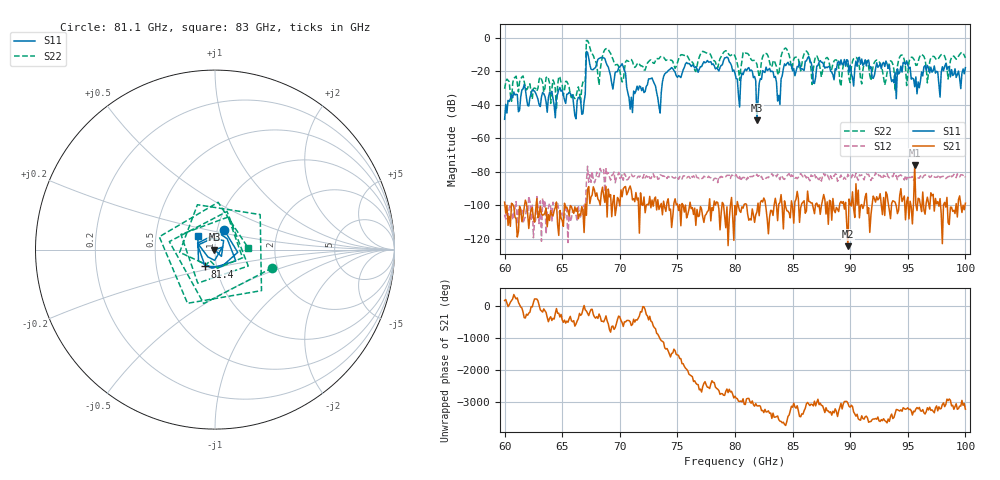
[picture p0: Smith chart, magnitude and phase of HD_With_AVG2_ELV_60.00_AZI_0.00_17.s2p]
! 11/25/2026 10:18:21 AM
! C:\ANRITSUVNA\TEMP\TEMP.S2P
! CHANNEL.1
! TR.MEASUREMENT
! RAW.DATA
# HZ S RI R 50.0
! FREQ.HZ  S11RE  S11IM  S21RE  S21IM  S12RE  S12IM  S22RE  S22IM
!; PortSelection: Port_12
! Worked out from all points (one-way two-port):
!   401 points, 60 GHz to 100 GHz, reference 50 ohm
!   highest |S21| = -75.99 dB at 95.6 GHz (marker M1); lowest = -124.3 dB at 89.8 GHz (marker M2)
!   lowest |S11| = -49.3 dB at 81.9 GHz (marker M3), VSWR 1.01, Z = 49.7 + j0.0262 ohm
!   |S11| at or under -10 dB: start of sweep to 67.09 GHz; 67.24 GHz to end of sweep
!   |S22| runs from -42.8 to -1.7 dB; largest |S21 - S12| = 0.00023
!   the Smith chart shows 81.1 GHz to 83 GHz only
!   S11 on the Smith chart (normalised r, x): 81.1 GHz: 1.08, +0.24; 81.4 GHz: 0.88, -0.17; 83 GHz: 0.82, +0.12
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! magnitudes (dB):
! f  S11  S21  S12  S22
! 60 GHz  -48.7  -98.1  -105.5  -30.5
! 61.6 GHz  -30.6  -106.8  -110.8  -22.8
! 66.7 GHz  -45.7  -100.8  -100.8  -29.5
! 67.3 GHz  -12.1  -88.8  -86.2  -3.2
! 68.4 GHz  -11.8  -92.5  -80.1  -14.7
! 70.3 GHz  -17.5  -90.1  -85.0  -25.5
! 70.9 GHz  -42.6  -88.4  -82.3  -13.5
! 72.7 GHz  -24.4  -101.4  -84.0  -13.3
! 73.4 GHz  -41.2  -102.5  -84.2  -12.6
! 74.4 GHz  -18.6  -102.2  -83.6  -13.4
! 80 GHz  -21.2  -100.1  -82.4  -11.1
! 81.1 GHz  -18.4  -105.3  -83.3  -9.5
! 81.4 GHz  -19.3  -108.8  -82.8  -13.0
! 81.9 GHz  -49.3  -104.0  -81.5  -15.9
! 83 GHz  -18.4  -107.0  -82.4  -14.6
! 83.8 GHz  -34.4  -99.3  -83.3  -22.3
! 84.4 GHz  -16.7  -100.8  -83.1  -6.2
! 86.7 GHz  -17.5  -98.6  -82.7  -28.0
! 89.8 GHz  -13.7  -124.3  -81.4  -18.1
! 93.4 GHz  -16.3  -103.0  -83.6  -15.6
! 95.6 GHz  -29.3  -76.0  -83.4  -13.7
! 100 GHz  -17.9  -98.7  -83.3  -12.1
